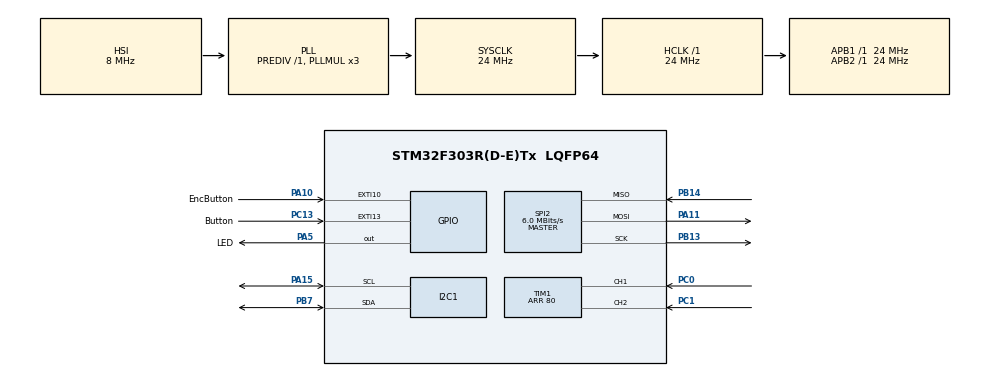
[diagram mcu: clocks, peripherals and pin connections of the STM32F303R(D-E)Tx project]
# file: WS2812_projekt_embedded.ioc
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Dma.Request0=SPI2_TX
Dma.SPI2_TX.0.Direction=DMA_MEMORY_TO_PERIPH
Dma.SPI2_TX.0.Instance=DMA1_Channel5
Dma.SPI2_TX.0.MemDataAlignment=DMA_MDATAALIGN_BYTE
Dma.SPI2_TX.0.MemInc=DMA_MINC_ENABLE
Dma.SPI2_TX.0.Mode=DMA_NORMAL
Dma.SPI2_TX.0.PeriphDataAlignment=DMA_PDATAALIGN_BYTE
Dma.SPI2_TX.0.PeriphInc=DMA_PINC_DISABLE
Dma.SPI2_TX.0.Priority=DMA_PRIORITY_VERY_HIGH
Mcu.Family=STM32F3
Mcu.Name=STM32F303R(D-E)Tx
Mcu.Package=LQFP64
NVIC.DMA1_Channel5_IRQn=true\:0\:0\:false\:false\:true\:false\:true
NVIC.EXTI15_10_IRQn=true\:0\:0\:false\:false\:true\:true\:true
NVIC.PVD_IRQn=true\:0\:0\:false\:false\:true\:true\:true
NVIC.PriorityGroup=NVIC_PRIORITYGROUP_4
NVIC.SPI2_IRQn=true\:0\:0\:false\:false\:true\:true\:true
NVIC.TIM1_BRK_TIM15_IRQn=true\:0\:0\:false\:false\:true\:true\:true
NVIC.TIM1_CC_IRQn=true\:0\:0\:false\:false\:true\:true\:true
NVIC.TIM1_TRG_COM_TIM17_IRQn=true\:0\:0\:false\:false\:true\:true\:true
NVIC.TIM1_UP_TIM16_IRQn=true\:0\:0\:false\:false\:true\:true\:true
PA10.GPIO_Label=EncButton
PA10.Signal=GPXTI10
PA11.Mode=Full_Duplex_Master
PA11.Signal=SPI2_MOSI
PA13.Mode=Serial_Wire
PA13.Signal=SYS_JTMS-SWDIO
PA14.Mode=Serial_Wire
PA14.Signal=SYS_JTCK-SWCLK
PA15.Mode=I2C
PA15.Signal=I2C1_SCL
PA5.GPIO_Label=LED
PA5.GPIO_ModeDefaultOutputPP=GPIO_MODE_OUTPUT_PP
PA5.GPIO_PuPd=GPIO_NOPULL
PA5.Signal=GPIO_Output
PB13.Mode=Full_Duplex_Master
PB13.Signal=SPI2_SCK
PB14.Mode=Full_Duplex_Master
PB14.Signal=SPI2_MISO
PB7.Mode=I2C
PB7.Signal=I2C1_SDA
PC0.Signal=S_TIM1_CH1
PC1.Signal=S_TIM1_CH2
PC13.GPIO_Label=Button
PC13.GPIO_ModeDefaultEXTI=GPIO_MODE_IT_RISING_FALLING
PC13.Signal=GPXTI13
PF0-OSC_IN.Mode=HSE-External-Oscillator
PF0-OSC_IN.Signal=RCC_OSC_IN
PF1-OSC_OUT.Mode=HSE-External-Oscillator
PF1-OSC_OUT.Signal=RCC_OSC_OUT
ProjectManager.HeapSize=0x200
ProjectManager.StackSize=0x400
ProjectManager.TargetToolchain=SW4STM32
RCC.AHBFreq_Value=24000000
RCC.APB1Freq_Value=24000000
RCC.APB1TimFreq_Value=24000000
RCC.APB2Freq_Value=24000000
RCC.APB2TimFreq_Value=24000000
RCC.CortexFreq_Value=24000000
RCC.HCLKFreq_Value=24000000
RCC.HSE_VALUE=8000000
RCC.HSI_VALUE=8000000
RCC.LSE_VALUE=32768
RCC.PLLMUL=RCC_PLL_MUL3
RCC.SYSCLKFreq_VALUE=24000000
RCC.SYSCLKSourceVirtual=RCC_SYSCLKSOURCE_PLLCLK
RCC.USBFreq_Value=24000000
SH.S_TIM1_CH1.0=TIM1_CH1,Encoder_Interface
SH.S_TIM1_CH2.0=TIM1_CH2,Encoder_Interface
SPI2.BaudRatePrescaler=SPI_BAUDRATEPRESCALER_4
SPI2.CalculateBaudRate=6.0 MBits/s
SPI2.DataSize=SPI_DATASIZE_8BIT
SPI2.Direction=SPI_DIRECTION_2LINES
SPI2.FirstBit=SPI_FIRSTBIT_MSB
SPI2.Mode=SPI_MODE_MASTER
SPI2.VirtualType=VM_MASTER
TIM1.EncoderMode=TIM_ENCODERMODE_TI12
TIM1.IC1Filter=15
TIM1.IC2Filter=15
TIM1.Period=80
board=custom

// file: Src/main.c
/* USER CODE BEGIN Header */
/**
 ******************************************************************************
 * @file           : main.c
 * @brief          : Main program body
 ******************************************************************************
 * @attention
 *
 * <h2><center>&copy; Copyright (c) 2020 STMicroelectronics.
 * All rights reserved.</center></h2>
 *
 * This software component is licensed by ST under BSD 3-Clause license,
 * the "License"; You may not use this file except in compliance with the
 * License. You may obtain a copy of the License at:
 *                        opensource.org/licenses/BSD-3-Clause
 *
 ******************************************************************************
 */
/* USER CODE END Header */

#include "main.h"

/* USER CODE BEGIN PD */
#define WS2812B_LEDS 30

#define zero 0b1000000
#define one 0b1111000
/* USER CODE END PD */

I2C_HandleTypeDef hi2c1;

SPI_HandleTypeDef hspi2;
DMA_HandleTypeDef hdma_spi2_tx;

TIM_HandleTypeDef htim1;

/* USER CODE BEGIN PV */
typedef struct ws2812b_color {
	uint8_t red, green, blue;
} ws2812b_color;

static ws2812b_color ws2812b_array[WS2812B_LEDS];			// global led structure array to store rgb values;
const uint16_t BUFFER_LENGTH = WS2812B_LEDS * 24 + 48; 		// length of total buffer 30 pixels* 24 bytes(8 bytes for each colour)+ 24 bytes to reset
static uint8_t buffer[WS2812B_LEDS * 24 + 48];				// buffer with this length
uint16_t CurrentLed;

uint8_t state; 												// state of inbuilt button
uint8_t encoderValue = 0;									// encoderValue [0 - 80]
uint8_t encoderPreviousValue = 0;
uint8_t encoderDifference = 0;
static uint16_t globalCounter = 0;							// global counter to change values depend from time
uint8_t mode = 0;											// selected LED mode
uint8_t modeMax = 4;										// number of modes in application
uint8_t brightness = 255;

/* USER CODE END PV */

void SystemClock_Config(void);
static void MX_GPIO_Init(void);
static void MX_DMA_Init(void);
static void MX_TIM1_Init(void);
static void MX_SPI2_Init(void);
static void MX_I2C1_Init(void);
/* USER CODE BEGIN PFP */

void HAL_GPIO_EXTI_Callback(uint16_t GPIO_Pin) {
	if (GPIO_Pin == Button_Pin) {
		state = HAL_GPIO_ReadPin(Button_GPIO_Port, Button_Pin);
		HAL_GPIO_WritePin(LED_GPIO_Port, LED_Pin, state);
	}

	if (GPIO_Pin == EncButton_Pin) {
		{
			mode++;
			if (mode >= modeMax) {
				mode = 0;
			}
		}
	}
}

void WS2812B_SetDiodeRGB(uint8_t diode_id, uint8_t R, uint8_t G, uint8_t B) {
	if (diode_id >= WS2812B_LEDS || diode_id < 0)
		return;
	ws2812b_array[diode_id].red = R;
	ws2812b_array[diode_id].green = G;
	ws2812b_array[diode_id].blue = B;
}
void WS2812B_SetDiodeHSV(int16_t diode_id, uint16_t Hue, uint8_t Saturation,
		uint8_t Brightness) {
	if (diode_id >= WS2812B_LEDS || diode_id < 0)
		return;
	uint16_t Sector, Fracts, p, q, t;

	if (Saturation == 0) {
		ws2812b_array[diode_id].red = Brightness;
		ws2812b_array[diode_id].green = Brightness;
		ws2812b_array[diode_id].blue = Brightness;
	} else {
		if (Hue >= 360)
			Hue = 359;

		Sector = Hue / 60; // Sector 0 to 5
		Fracts = Hue % 60;
		p = (Brightness * (255 - Saturation)) / 256;
		q = (Brightness * (255 - (Saturation * Fracts) / 60)) / 256;
		t = (Brightness * (255 - (Saturation * (59 - Fracts)) / 60)) / 256;

		switch (Sector) {
		case 0:
			ws2812b_array[diode_id].red = Brightness;
			ws2812b_array[diode_id].green = (uint8_t) t;
			ws2812b_array[diode_id].blue = (uint8_t) p;
			break;
		case 1:
			ws2812b_array[diode_id].red = (uint8_t) q;
			ws2812b_array[diode_id].green = Brightness;
			ws2812b_array[diode_id].blue = (uint8_t) p;
			break;
		case 2:
			ws2812b_array[diode_id].red = (uint8_t) p;
			ws2812b_array[diode_id].green = Brightness;
			ws2812b_array[diode_id].blue = (uint8_t) t;
			break;
		case 3:
			ws2812b_array[diode_id].red = (uint8_t) p;
			ws2812b_array[diode_id].green = (uint8_t) q;
			ws2812b_array[diode_id].blue = Brightness;
			break;
		case 4:
			ws2812b_array[diode_id].red = (uint8_t) t;
			ws2812b_array[diode_id].green = (uint8_t) p;
			ws2812b_array[diode_id].blue = Brightness;
			break;
		default:		// case 5:
			ws2812b_array[diode_id].red = Brightness;
			ws2812b_array[diode_id].green = (uint8_t) p;
			ws2812b_array[diode_id].blue = (uint8_t) q;
			break;
		}
	}
}
void WS2812B_CleanBuffer() {
	for (uint8_t i = 0; i < WS2812B_LEDS; i++) {
		WS2812B_SetDiodeRGB(i, 0, 0, 0);
	}
}

void WS2812B_RefreshStrip() {
	uint8_t i = 0;
	for (CurrentLed = 0; CurrentLed < WS2812B_LEDS; CurrentLed++) {
		//green
		for (i = 0; i < 8; i++) {
			if ((ws2812b_array[CurrentLed].green & (0x80 >> i)) == 0)
				buffer[CurrentLed * 24 + i] = zero;
			else
				buffer[CurrentLed * 24 + i] = one;
		}
		// red
		for (i = 0; i < 8; i++) {
			if ((ws2812b_array[CurrentLed].red & (0x80 >> i)) == 0)
				buffer[CurrentLed * 24 + i + 8] = zero;
			else
				buffer[CurrentLed * 24 + i + 8] = one;
		}
		//blue
		for (i = 0; i < 8; i++) {
			if ((ws2812b_array[CurrentLed].blue & (0x80 >> i)) == 0)
				buffer[CurrentLed * 24 + i + 16] = zero;
			else
				buffer[CurrentLed * 24 + i + 16] = one;
		}

	}
	for (uint8_t k = 0; k < 24; k++) {
		buffer[WS2812B_LEDS * 24 + k] = 0x00;
	}
	HAL_SPI_Transmit_DMA(&hspi2, buffer, BUFFER_LENGTH);
	while (HAL_DMA_STATE_READY != HAL_DMA_GetState(hspi2.hdmatx));
}
void WS2812B_OnePixelRoundMode(uint32_t delay, uint8_t R, uint8_t G, uint8_t B) {
	for (int j = 0; j < WS2812B_LEDS; j++) {
		WS2812B_CleanBuffer();
		WS2812B_SetDiodeRGB(j, R, G, B);
		WS2812B_RefreshStrip();
		HAL_Delay(delay);
	}
}

void WS2812B_RainbowMode(uint8_t encSpeed) {
	globalCounter++;
	for (int i = 0; i < WS2812B_LEDS; i++) {

		WS2812B_SetDiodeHSV(i, (i * 12 + globalCounter) % 360, 255, brightness);
	}
	WS2812B_RefreshStrip();
	HAL_Delay(encSpeed);
}

void WS2812B_EncoderMode(uint16_t encHue, uint16_t encMaxValue) {
	for (int i = 0; i < WS2812B_LEDS; i++) {

		WS2812B_SetDiodeHSV(i, ((360 / encMaxValue) * encHue) % 360, 255, brightness);
	}
	WS2812B_RefreshStrip();
}
void ChangeBrightness(uint8_t encValue) {
	brightness = encValue;
}

void lcd_print_enc_value(uint8_t encValue, uint8_t row, uint8_t col) {
	if ( encValue >= 100)
	{
		lcd_put_cur(row, col);
		lcd_send_data(((encValue / 100) % 10) + 48);
	}else
	{
		lcd_put_cur(row, col);
		lcd_send_data(32);  //just print space, not '0'
	}
	lcd_put_cur(row, col+1);
	lcd_send_data(((encValue / 10) % 10) + 48);
	lcd_put_cur(row, col + 2);
	lcd_send_data(encValue % 10 + 48);
}

/* USER CODE END PFP */

int main(void)
{

  /* MCU Configuration--------------------------------------------------------*/

  /* Reset of all peripherals, Initializes the Flash interface and the Systick. */
  HAL_Init();

  /* Configure the system clock */
  SystemClock_Config();

  /* Initialize all configured peripherals */
  MX_GPIO_Init();
  MX_DMA_Init();
  MX_TIM1_Init();
  MX_SPI2_Init();
  MX_I2C1_Init();
  /* USER CODE BEGIN 2 */
  HAL_TIM_Encoder_Start(&htim1, TIM_CHANNEL_ALL);
  lcd_init();
  lcd_send_string("MODE");
  HAL_Delay(500);

  /* USER CODE END 2 */

  /* Infinite loop */
  /* USER CODE BEGIN WHILE */
	while (1) {

		encoderValue = htim1.Instance->CNT;
		encoderDifference = encoderValue - encoderPreviousValue;
		if(abs(encoderDifference)> 10)
		{
			encoderDifference = 0;
		}

		switch (mode) {
		case 0:
			lcd_put_cur(1, 0);
			lcd_send_string("Rainbow     ");
			lcd_print_enc_value(encoderValue, 1, 12);
			WS2812B_RainbowMode(encoderValue);
			break;

		case 1:
			lcd_put_cur(1, 0);
			lcd_send_string("Round pixel");
			lcd_print_enc_value(encoderValue, 1, 12);
			WS2812B_OnePixelRoundMode(encoderValue, 255, 255, 255);
			break;

		case 2:
			lcd_put_cur(1, 0);
			lcd_send_string("Encoder    ");
			lcd_print_enc_value(encoderValue, 1, 12);
			WS2812B_EncoderMode(encoderValue, 80);
			break;

		case 3:
			lcd_put_cur(1, 0);
			lcd_send_string("Brightness");
			brightness += encoderDifference;
			lcd_print_enc_value(brightness, 1, 12);
			WS2812B_EncoderMode(encoderValue, 80);
			break;

		default:

			break;
		}
		encoderPreviousValue = encoderValue;

    /* USER CODE END WHILE */

	}
}

void SystemClock_Config(void)
{
  RCC_OscInitTypeDef RCC_OscInitStruct = {0};
  RCC_ClkInitTypeDef RCC_ClkInitStruct = {0};
  RCC_PeriphCLKInitTypeDef PeriphClkInit = {0};

  /** Initializes the CPU, AHB and APB busses clocks
  */
  RCC_OscInitStruct.OscillatorType = RCC_OSCILLATORTYPE_HSI;
  RCC_OscInitStruct.HSIState = RCC_HSI_ON;
  RCC_OscInitStruct.HSICalibrationValue = RCC_HSICALIBRATION_DEFAULT;
  RCC_OscInitStruct.PLL.PLLState = RCC_PLL_ON;
  RCC_OscInitStruct.PLL.PLLSource = RCC_PLLSOURCE_HSI;
  RCC_OscInitStruct.PLL.PLLMUL = RCC_PLL_MUL3;
  RCC_OscInitStruct.PLL.PREDIV = RCC_PREDIV_DIV1;
  if (HAL_RCC_OscConfig(&RCC_OscInitStruct) != HAL_OK)
  {
    Error_Handler();
  }
  /** Initializes the CPU, AHB and APB busses clocks
  */
  RCC_ClkInitStruct.ClockType = RCC_CLOCKTYPE_HCLK|RCC_CLOCKTYPE_SYSCLK
                              |RCC_CLOCKTYPE_PCLK1|RCC_CLOCKTYPE_PCLK2;
  RCC_ClkInitStruct.SYSCLKSource = RCC_SYSCLKSOURCE_PLLCLK;
  RCC_ClkInitStruct.AHBCLKDivider = RCC_SYSCLK_DIV1;
  RCC_ClkInitStruct.APB1CLKDivider = RCC_HCLK_DIV1;
  RCC_ClkInitStruct.APB2CLKDivider = RCC_HCLK_DIV1;

  if (HAL_RCC_ClockConfig(&RCC_ClkInitStruct, FLASH_LATENCY_0) != HAL_OK)
  {
    Error_Handler();
  }
  PeriphClkInit.PeriphClockSelection = RCC_PERIPHCLK_I2C1|RCC_PERIPHCLK_TIM1;
  PeriphClkInit.I2c1ClockSelection = RCC_I2C1CLKSOURCE_HSI;
  PeriphClkInit.Tim1ClockSelection = RCC_TIM1CLK_HCLK;
  if (HAL_RCCEx_PeriphCLKConfig(&PeriphClkInit) != HAL_OK)
  {
    Error_Handler();
  }
}

static void MX_I2C1_Init(void)
{

  hi2c1.Instance = I2C1;
  hi2c1.Init.Timing = 0x2000090E;
  hi2c1.Init.OwnAddress1 = 0;
  hi2c1.Init.AddressingMode = I2C_ADDRESSINGMODE_7BIT;
  hi2c1.Init.DualAddressMode = I2C_DUALADDRESS_DISABLE;
  hi2c1.Init.OwnAddress2 = 0;
  hi2c1.Init.OwnAddress2Masks = I2C_OA2_NOMASK;
  hi2c1.Init.GeneralCallMode = I2C_GENERALCALL_DISABLE;
  hi2c1.Init.NoStretchMode = I2C_NOSTRETCH_DISABLE;
  if (HAL_I2C_Init(&hi2c1) != HAL_OK)
  {
    Error_Handler();
  }
  /** Configure Analogue filter
  */
  if (HAL_I2CEx_ConfigAnalogFilter(&hi2c1, I2C_ANALOGFILTER_ENABLE) != HAL_OK)
  {
    Error_Handler();
  }
  /** Configure Digital filter
  */
  if (HAL_I2CEx_ConfigDigitalFilter(&hi2c1, 0) != HAL_OK)
  {
    Error_Handler();
  }

}

static void MX_SPI2_Init(void)
{

  /* SPI2 parameter configuration*/
  hspi2.Instance = SPI2;
  hspi2.Init.Mode = SPI_MODE_MASTER;
  hspi2.Init.Direction = SPI_DIRECTION_2LINES;
  hspi2.Init.DataSize = SPI_DATASIZE_8BIT;
  hspi2.Init.CLKPolarity = SPI_POLARITY_LOW;
  hspi2.Init.CLKPhase = SPI_PHASE_1EDGE;
  hspi2.Init.NSS = SPI_NSS_SOFT;
  hspi2.Init.BaudRatePrescaler = SPI_BAUDRATEPRESCALER_4;
  hspi2.Init.FirstBit = SPI_FIRSTBIT_MSB;
  hspi2.Init.TIMode = SPI_TIMODE_DISABLE;
  hspi2.Init.CRCCalculation = SPI_CRCCALCULATION_DISABLE;
  hspi2.Init.CRCPolynomial = 7;
  hspi2.Init.CRCLength = SPI_CRC_LENGTH_DATASIZE;
  hspi2.Init.NSSPMode = SPI_NSS_PULSE_ENABLE;
  if (HAL_SPI_Init(&hspi2) != HAL_OK)
  {
    Error_Handler();
  }

}

static void MX_TIM1_Init(void)
{

  TIM_Encoder_InitTypeDef sConfig = {0};
  TIM_MasterConfigTypeDef sMasterConfig = {0};

  htim1.Instance = TIM1;
  htim1.Init.Prescaler = 0;
  htim1.Init.CounterMode = TIM_COUNTERMODE_UP;
  htim1.Init.Period = 80;
  htim1.Init.ClockDivision = TIM_CLOCKDIVISION_DIV1;
  htim1.Init.RepetitionCounter = 0;
  htim1.Init.AutoReloadPreload = TIM_AUTORELOAD_PRELOAD_DISABLE;
  sConfig.EncoderMode = TIM_ENCODERMODE_TI12;
  sConfig.IC1Polarity = TIM_ICPOLARITY_RISING;
  sConfig.IC1Selection = TIM_ICSELECTION_DIRECTTI;
  sConfig.IC1Prescaler = TIM_ICPSC_DIV1;
  sConfig.IC1Filter = 15;
  sConfig.IC2Polarity = TIM_ICPOLARITY_RISING;
  sConfig.IC2Selection = TIM_ICSELECTION_DIRECTTI;
  sConfig.IC2Prescaler = TIM_ICPSC_DIV1;
  sConfig.IC2Filter = 15;
  if (HAL_TIM_Encoder_Init(&htim1, &sConfig) != HAL_OK)
  {
    Error_Handler();
  }
  sMasterConfig.MasterOutputTrigger = TIM_TRGO_RESET;
  sMasterConfig.MasterOutputTrigger2 = TIM_TRGO2_RESET;
  sMasterConfig.MasterSlaveMode = TIM_MASTERSLAVEMODE_DISABLE;
  if (HAL_TIMEx_MasterConfigSynchronization(&htim1, &sMasterConfig) != HAL_OK)
  {
    Error_Handler();
  }

}

static void MX_DMA_Init(void)
{

  /* DMA controller clock enable */
  __HAL_RCC_DMA1_CLK_ENABLE();

  /* DMA interrupt init */
  /* DMA1_Channel5_IRQn interrupt configuration */
  HAL_NVIC_SetPriority(DMA1_Channel5_IRQn, 0, 0);
  HAL_NVIC_EnableIRQ(DMA1_Channel5_IRQn);

}

static void MX_GPIO_Init(void)
{
  GPIO_InitTypeDef GPIO_InitStruct = {0};

  /* GPIO Ports Clock Enable */
  __HAL_RCC_GPIOC_CLK_ENABLE();
  __HAL_RCC_GPIOF_CLK_ENABLE();
  __HAL_RCC_GPIOA_CLK_ENABLE();
  __HAL_RCC_GPIOB_CLK_ENABLE();

  /*Configure GPIO pin Output Level */
  HAL_GPIO_WritePin(LED_GPIO_Port, LED_Pin, GPIO_PIN_RESET);

  /*Configure GPIO pin : Button_Pin */
  GPIO_InitStruct.Pin = Button_Pin;
  GPIO_InitStruct.Mode = GPIO_MODE_IT_RISING_FALLING;
  GPIO_InitStruct.Pull = GPIO_NOPULL;
  HAL_GPIO_Init(Button_GPIO_Port, &GPIO_InitStruct);

  /*Configure GPIO pin : LED_Pin */
  GPIO_InitStruct.Pin = LED_Pin;
  GPIO_InitStruct.Mode = GPIO_MODE_OUTPUT_PP;
  GPIO_InitStruct.Pull = GPIO_NOPULL;
  GPIO_InitStruct.Speed = GPIO_SPEED_FREQ_LOW;
  HAL_GPIO_Init(LED_GPIO_Port, &GPIO_InitStruct);

  /*Configure GPIO pin : EncButton_Pin */
  GPIO_InitStruct.Pin = EncButton_Pin;
  GPIO_InitStruct.Mode = GPIO_MODE_IT_RISING;
  GPIO_InitStruct.Pull = GPIO_NOPULL;
  HAL_GPIO_Init(EncButton_GPIO_Port, &GPIO_InitStruct);

  /* EXTI interrupt init*/
  HAL_NVIC_SetPriority(EXTI15_10_IRQn, 0, 0);
  HAL_NVIC_EnableIRQ(EXTI15_10_IRQn);

}

void Error_Handler(void)
{
}

/************************ (C) COPYRIGHT STMicroelectronics *****END OF FILE****/
